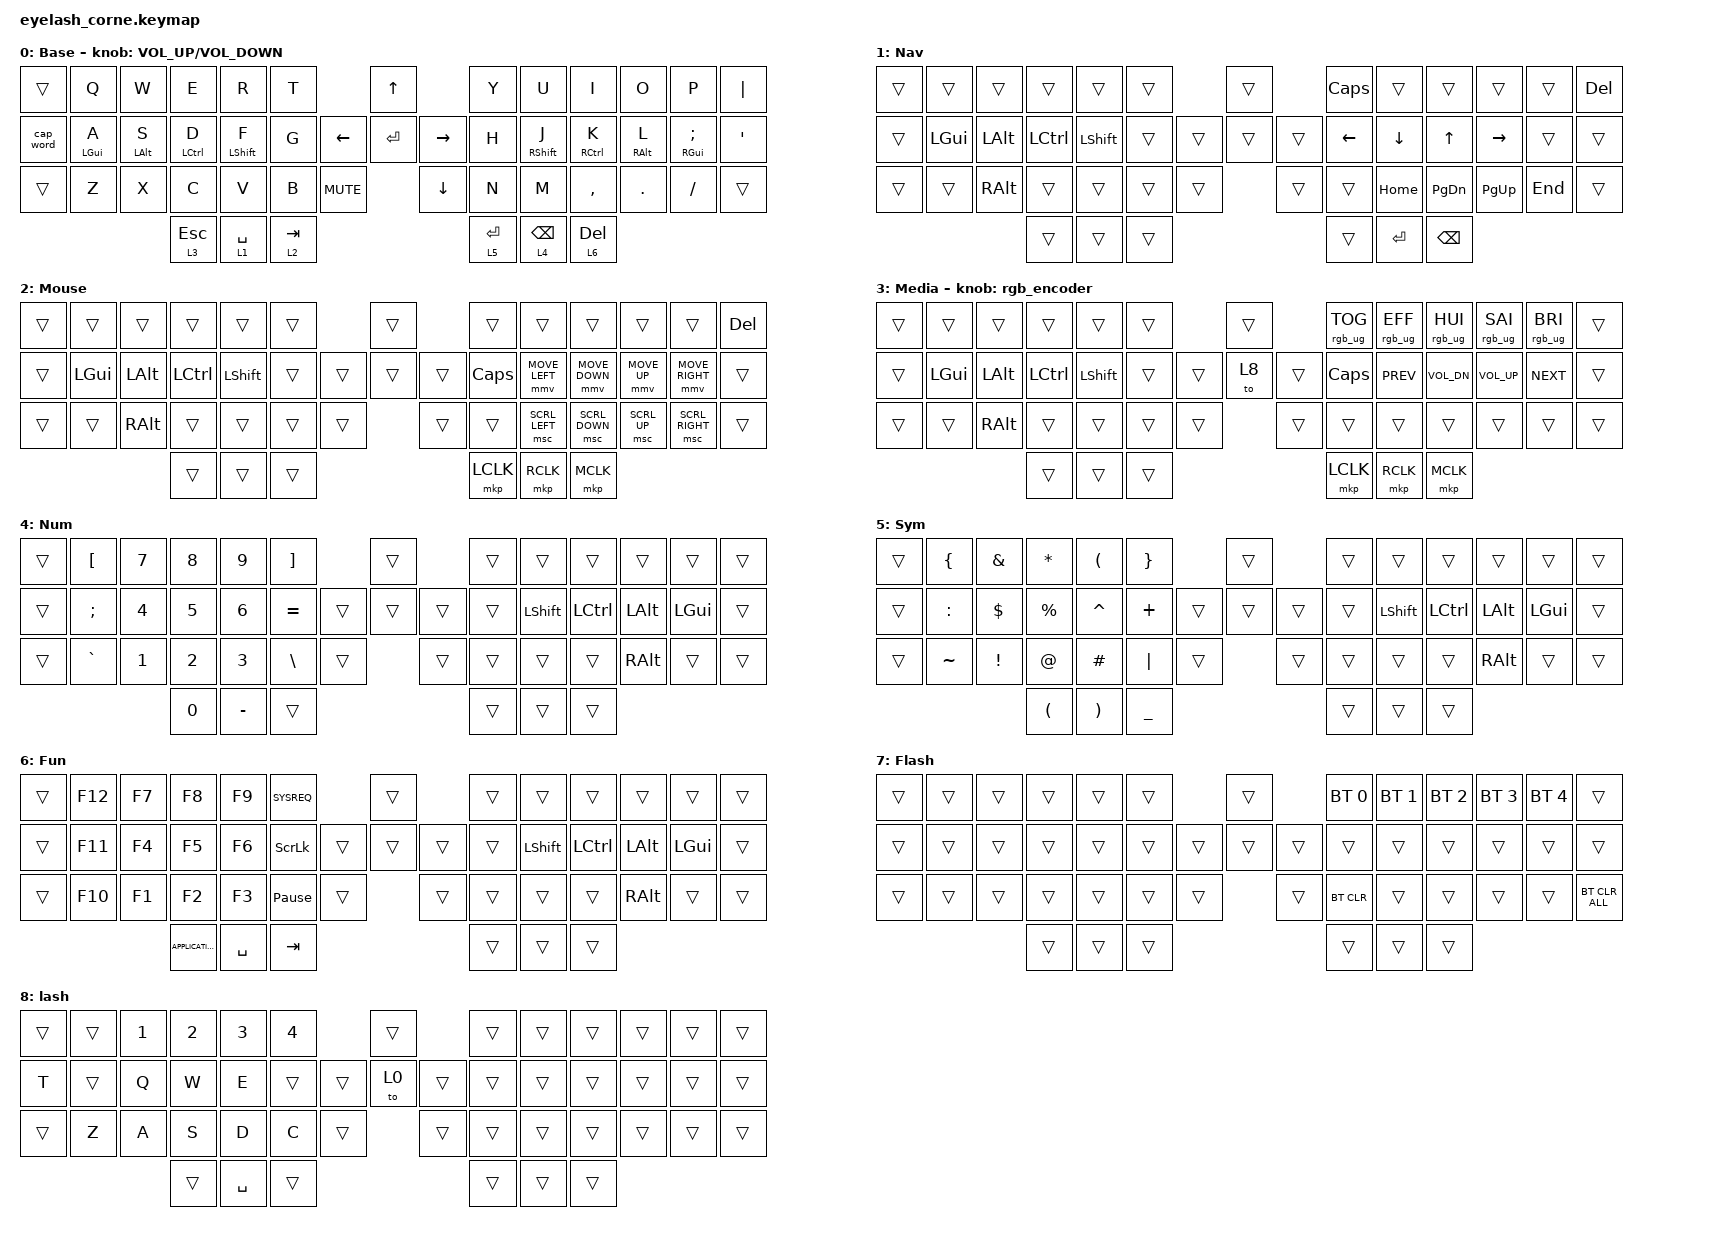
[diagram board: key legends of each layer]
#include <dt-bindings/zmk/mouse.h>
#include <input/processors.dtsi>
#include <behaviors.dtsi>
#include <dt-bindings/zmk/bt.h>
#include <dt-bindings/zmk/keys.h>
#include <dt-bindings/zmk/pointing.h>
#include <dt-bindings/zmk/rgb.h>

/*
   &mmv_input_listener {
       input-processors = <&zip_xy_scaler 2 1>;
   };

   &msc_input_listener {
       input-processors = <&zip_xy_scaler 2 1>;
   };
*/

#define ZMK_MOUSE_DEFAULT_MOVE_VAL 1200  // 600
#define ZMK_MOUSE_DEFAULT_SCRL_VAL 20    // 10

/ {
    behaviors {
        /* Home Row Mods – Left Hand */

        h_row_l: h_row_l {
            compatible = "zmk,behavior-hold-tap";
            label = "H_ROW_L";
            #binding-cells = <2>;
            bindings = <&kp>, <&kp>;

            tapping-term-ms = <200>;

            /* Adjust these positions as needed for your left-hand home row keys */

            hold-trigger-key-positions = <14 15 16 17>;
            hold-trigger-on-release;
            flavor = "balanced";
        };

        /* Home Row Mods – Right Hand */

        h_row_r: h_row_r {
            compatible = "zmk,behavior-hold-tap";
            label = "H_ROW_R";
            #binding-cells = <2>;
            bindings = <&kp>, <&kp>;

            tapping-term-ms = <200>;

            /* Adjust these positions as needed for your right-hand home row keys */

            hold-trigger-key-positions = <23 24 25 26>;
            hold-trigger-on-release;
            flavor = "balanced";
            require-prior-idle-ms = <125>;
        };

        l_hold_layer: l_hold_layer {
            compatible = "zmk,behavior-hold-tap";
            label = "L_HOLD_LAYER";
            bindings = <&mo>, <&kp>;

            #binding-cells = <2>;
            hold-trigger-key-positions = <42 43 44>;
            hold-trigger-on-release;
            tapping-term-ms = <280>;
            quick-tap-ms = <170>;
        };

        cap_word: cap_word {
            compatible = "zmk,behavior-caps-word";
            label = "CAP_WORD";
            #binding-cells = <0>;
            continue-list = <UNDERSCORE BACKSPACE>;
        };

        r_hold_layer: r_hold_layer {
            compatible = "zmk,behavior-hold-tap";
            label = "R_HOLD_LAYER";
            bindings = <&mo>, <&kp>;

            #binding-cells = <2>;
            hold-trigger-key-positions = <45 46 47>;
            hold-trigger-on-release;
            tapping-term-ms = <280>;
            quick-tap-ms = <170>;
        };
    };

    rgb_encoder: rgb_encoder {
        compatible = "zmk,behavior-sensor-rotate";
        #sensor-binding-cells = <0>;
        bindings = <&rgb_ug RGB_BRI>, <&rgb_ug RGB_BRD>;
    };

    scroll_encoder: scroll_encoder {
        compatible = "zmk,behavior-sensor-rotate";
        #sensor-binding-cells = <0>;
        bindings = <&msc SCRL_DOWN>, <&msc SCRL_UP>;

        tap-ms = <30>;
    };

    combos {
        compatible = "zmk,combos";

        esc {
            bindings = <&kp ESCAPE>;
            key-positions = <1 2>;
            layers = <0 5 4>;
        };

        l_parenthesis {
            bindings = <&kp LEFT_PARENTHESIS>;
            key-positions = <16 17>;
        };

        r_parenthesis {
            bindings = <&kp RIGHT_PARENTHESIS>;
            key-positions = <23 24>;
        };

        l_brace {
            bindings = <&kp LEFT_BRACE>;
            key-positions = <31 32>;
        };

        r_brace {
            bindings = <&kp RIGHT_BRACE>;
            key-positions = <37 38>;
        };

        l_bracket {
            bindings = <&kp LEFT_BRACKET>;
            key-positions = <3 4>;
            require-prior-idle-ms = <100>;
        };

        r_bracket {
            bindings = <&kp RIGHT_BRACKET>;
            key-positions = <8 9>;
        };
    };

    keymap {
        compatible = "zmk,keymap";

        base_layer {
            display-name = "Base";
            bindings = <
&trans     &kp Q            &kp W            &kp E                &kp R                  &kp T                                        &kp UP                &kp Y                  &kp U                      &kp I                     &kp O            &kp P               &kp PIPE
&cap_word  &h_row_l LGUI A  &h_row_l LALT S  &h_row_l LCTRL D     &h_row_l LSHIFT F      &kp G                              &kp LEFT  &kp ENTER  &kp RIGHT  &kp H                  &h_row_r RIGHT_SHIFT J     &h_row_r RIGHT_CONTROL K  &h_row_r RALT L  &h_row_r RGUI SEMI  &kp APOS
&trans     &kp Z            &kp X            &kp C                &kp V                  &kp B                &kp K_MUTE              &kp DOWN              &kp N                  &kp M                      &kp COMMA                 &kp DOT          &kp FSLH            &trans
                                             &l_hold_layer 3 ESC  &l_hold_layer 1 SPACE  &l_hold_layer 2 TAB                                                &r_hold_layer 5 ENTER  &r_hold_layer 4 BACKSPACE  &r_hold_layer 6 DELETE
            >;

            sensor-bindings = <&inc_dec_kp C_VOLUME_UP C_VOLUME_DOWN>;
        };

        Nav {
            display-name = "Nav";
            bindings = <
&trans  &trans        &trans         &trans            &trans          &trans                    &trans          &kp CAPSLOCK    &trans          &trans         &trans           &trans   &kp DEL
&trans  &kp LEFT_GUI  &kp LEFT_ALT   &kp LEFT_CONTROL  &kp LEFT_SHIFT  &trans            &trans  &trans  &trans  &kp LEFT_ARROW  &kp DOWN_ARROW  &kp UP_ARROW   &kp RIGHT_ARROW  &trans   &trans
&trans  &trans        &kp RIGHT_ALT  &trans            &trans          &trans  &trans            &trans          &trans          &kp HOME        &kp PG_DN      &kp PG_UP        &kp END  &trans
                                     &trans            &trans          &trans                                    &trans          &kp ENTER       &kp BACKSPACE
            >;
        };

        Mouse {
            display-name = "Mouse";
            bindings = <
&trans  &trans        &trans         &trans            &trans          &trans                    &trans          &trans        &trans          &trans          &trans        &trans           &kp DEL
&trans  &kp LEFT_GUI  &kp LEFT_ALT   &kp LEFT_CONTROL  &kp LEFT_SHIFT  &trans            &trans  &trans  &trans  &kp CAPSLOCK  &mmv MOVE_LEFT  &mmv MOVE_DOWN  &mmv MOVE_UP  &mmv MOVE_RIGHT  &trans
&trans  &trans        &kp RIGHT_ALT  &trans            &trans          &trans  &trans            &trans          &trans        &msc SCRL_LEFT  &msc SCRL_DOWN  &msc SCRL_UP  &msc SCRL_RIGHT  &trans
                                     &trans            &trans          &trans                                    &mkp LCLK     &mkp RCLK       &mkp MCLK
            >;
        };

        media {
            display-name = "Media";
            bindings = <
&trans  &trans        &trans         &trans            &trans          &trans                    &trans          &rgb_ug RGB_TOG  &rgb_ug RGB_EFF  &rgb_ug RGB_HUI  &rgb_ug RGB_SAI  &rgb_ug RGB_BRI  &trans
&trans  &kp LEFT_GUI  &kp LEFT_ALT   &kp LEFT_CONTROL  &kp LEFT_SHIFT  &trans            &trans  &to 8   &trans  &kp CAPSLOCK     &kp K_PREV       &kp C_VOL_DN     &kp C_VOLUME_UP  &kp K_NEXT       &trans
&trans  &trans        &kp RIGHT_ALT  &trans            &trans          &trans  &trans            &trans          &trans           &trans           &trans           &trans           &trans           &trans
                                     &trans            &trans          &trans                                    &mkp LCLK        &mkp RCLK        &mkp MCLK
            >;

            sensor-bindings = <&rgb_encoder>;
        };

        num {
            display-name = "Num";
            bindings = <
&trans  &kp LBKT   &kp N7  &kp N8  &kp N9     &kp RBKT                     &trans          &trans  &trans     &trans     &trans    &trans    &trans
&trans  &kp SEMI   &kp N4  &kp N5  &kp N6     &kp EQUAL            &trans  &trans  &trans  &trans  &kp LSHFT  &kp LCTRL  &kp LALT  &kp LGUI  &trans
&trans  &kp GRAVE  &kp N1  &kp N2  &kp N3     &kp BSLH   &trans            &trans          &trans  &trans     &trans     &kp RALT  &trans    &trans
                           &kp N0  &kp MINUS  &trans                                       &trans  &trans     &trans
            >;
        };

        sym {
            display-name = "Sym";
            bindings = <
&trans  &kp LEFT_BRACE  &kp AMPERSAND  &kp ASTERISK          &kp LEFT_PARENTHESIS   &kp RIGHT_BRACE                    &trans          &trans  &trans     &trans     &trans    &trans    &trans
&trans  &kp COLON       &kp DOLLAR     &kp PERCENT           &kp CARET              &kp PLUS                   &trans  &trans  &trans  &trans  &kp LSHFT  &kp LCTRL  &kp LALT  &kp LGUI  &trans
&trans  &kp TILDE       &kp EXCL       &kp AT                &kp HASH               &kp PIPE         &trans            &trans          &trans  &trans     &trans     &kp RALT  &trans    &trans
                                       &kp LEFT_PARENTHESIS  &kp RIGHT_PARENTHESIS  &kp UNDER                                          &trans  &trans     &trans
            >;
        };

        fun {
            display-name = "Fun";
            bindings = <
&trans  &kp F12  &kp F7  &kp F8             &kp F9     &kp SYSREQ                         &trans          &trans  &trans     &trans     &trans    &trans    &trans
&trans  &kp F11  &kp F4  &kp F5             &kp F6     &kp SCROLLLOCK             &trans  &trans  &trans  &trans  &kp LSHFT  &kp LCTRL  &kp LALT  &kp LGUI  &trans
&trans  &kp F10  &kp F1  &kp F2             &kp F3     &kp PAUSE_BREAK  &trans            &trans          &trans  &trans     &trans     &kp RALT  &trans    &trans
                         &kp K_APPLICATION  &kp SPACE  &kp TAB                                            &trans  &trans     &trans
            >;
        };

        Flash {
            bindings = <
&trans  &trans  &trans  &trans  &trans  &trans                    &trans          &bt BT_SEL 0  &bt BT_SEL 1  &bt BT_SEL 2  &bt BT_SEL 3  &bt BT_SEL 4  &trans
&trans  &trans  &trans  &trans  &trans  &trans            &trans  &trans  &trans  &trans        &trans        &trans        &trans        &trans        &trans
&trans  &trans  &trans  &trans  &trans  &trans  &trans            &trans          &bt BT_CLR    &trans        &trans        &trans        &trans        &bt BT_CLR_ALL
                        &trans  &trans  &trans                                    &trans        &trans        &trans
            >;
        };

        gaming_layer {
            bindings = <
&trans  &trans  &kp N1  &kp N2  &kp N3     &kp N4                    &trans          &trans  &trans  &trans  &trans  &trans  &trans
&kp T   &trans  &kp Q   &kp W   &kp E      &trans            &trans  &to 0   &trans  &trans  &trans  &trans  &trans  &trans  &trans
&trans  &kp Z   &kp A   &kp S   &kp D      &kp C   &trans            &trans          &trans  &trans  &trans  &trans  &trans  &trans
                        &trans  &kp SPACE  &trans                                    &trans  &trans  &trans
            >;

            label = "lash";
        };
    };

    conditional_layers {
        compatible = "zmk,conditional-layers";

        Flash_layer {
            if-layers = <1 2>;
            then-layer = <7>;
        };
    };
};
